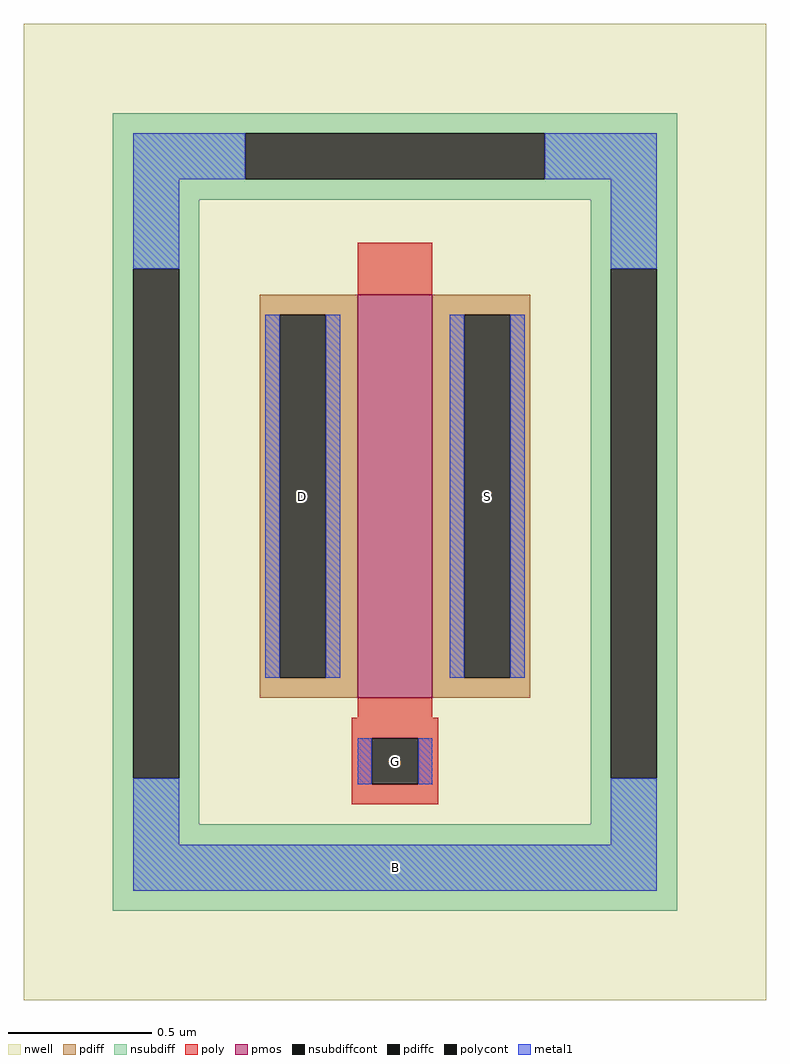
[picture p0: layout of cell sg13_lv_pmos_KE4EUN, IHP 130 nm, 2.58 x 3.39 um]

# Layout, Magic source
magic
tech ihp-sg13cmos5l
magscale 1 2
<< nwell >>
rect -258 -331 258 347
<< pmos >>
rect -26 -121 26 159
<< pdiff >>
rect -94 145 -26 159
rect -94 -107 -80 145
rect -48 -107 -26 145
rect -94 -121 -26 -107
rect 26 145 94 159
rect 26 -107 48 145
rect 80 -107 94 145
rect 26 -121 94 -107
<< pdiffc >>
rect -80 -107 -48 145
rect 48 -107 80 145
<< nsubdiff >>
rect -196 271 196 285
rect -196 239 -104 271
rect 104 239 196 271
rect -196 225 196 239
rect -196 177 -136 225
rect -196 -177 -182 177
rect -150 -177 -136 177
rect 136 177 196 225
rect -196 -209 -136 -177
rect 136 -177 150 177
rect 182 -177 196 177
rect 136 -209 196 -177
rect -196 -269 196 -209
<< nsubdiffcont >>
rect -104 239 104 271
rect -182 -177 -150 177
rect 150 -177 182 177
<< poly >>
rect -26 159 26 195
rect -26 -135 26 -121
rect -30 -149 30 -135
rect -30 -181 -16 -149
rect 16 -181 30 -149
rect -30 -195 30 -181
<< polycont >>
rect -16 -181 16 -149
<< metal1 >>
rect -182 239 -104 271
rect 104 239 182 271
rect -182 177 -150 239
rect 150 177 182 239
rect -90 -107 -80 145
rect -48 -107 -38 145
rect 38 -107 48 145
rect 80 -107 90 145
rect -182 -223 -150 -177
rect -26 -181 -16 -149
rect 16 -181 26 -149
rect 150 -223 182 -177
rect -182 -255 182 -223
<< labels >>
rlabel nsubdiff 0 -239 0 -239 0 B
port 1 nsew
rlabel pdiffc -64 19 -64 19 0 D
port 2 nsew
rlabel pdiffc 64 19 64 19 0 S
port 3 nsew
rlabel polycont 0 -165 0 -165 0 G
port 4 nsew
<< properties >>
string FIXED_BBOX -166 -239 166 239
string gencell sg13_lv_pmos
string library sg13cmos5l
string parameters w 1.4 l 0.26 m 1 ng 1 diffcov 100 polycov 100 guard 1 glc 1 grc 1 gtc 1 gbc 0 tbcov 100 rlcov 100 topc 0 botc 1 poverlap 0 doverlap 1 lmin 0.13 wmin 0.15 class mosfet compatible {sg13_lv_pmos sg13_hv_pmos} full_metal 1 conn_gates 0 gate_ring 0 ccols 1 viasrc 0 viadrn 0 viagate 0 viagb 0 viagr 0 viagl 0 viagt 0 doports 1
<< end >>
